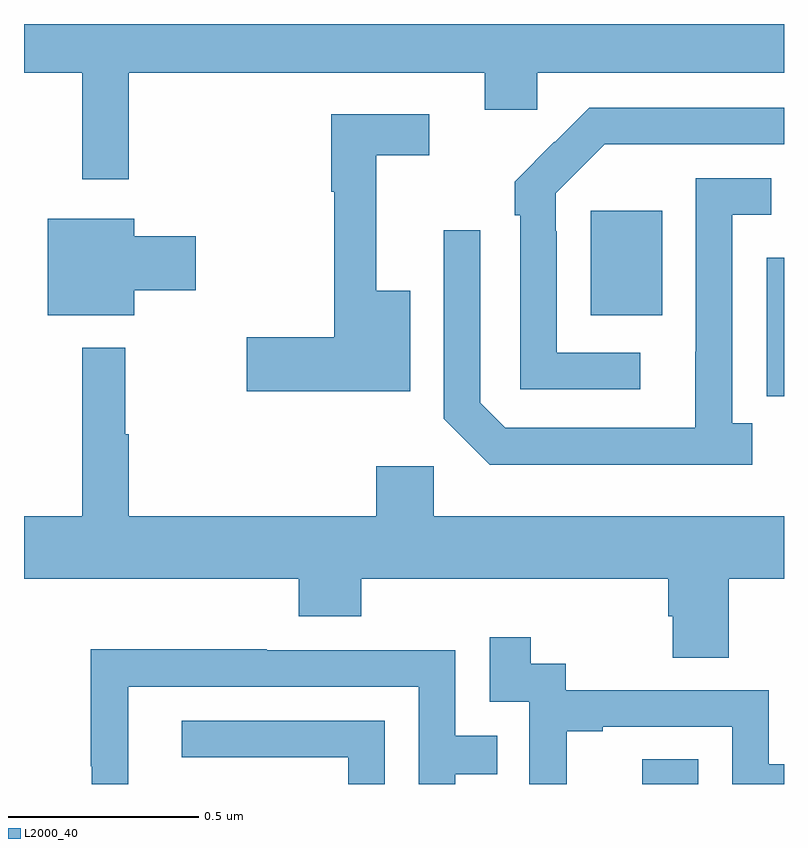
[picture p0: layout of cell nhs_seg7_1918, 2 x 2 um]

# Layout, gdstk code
import gdstk
lib = gdstk.Library(unit=1e-6, precision=1e-09)
def R(c, l, rs):  # rectangles x0, y0, x1, y1
    for r in rs: c.add(gdstk.rectangle(r[:2], r[2:], *l))
def P(c, l, *ps):  # polygons
    for p in ps: c.add(gdstk.Polygon(p, *l))
L2000_40 = (2000, 40)

nhs_seg7_1918 = lib.new_cell('nhs_seg7_1918')
R(nhs_seg7_1918, L2000_40, [(138.627,1076,138.774,1076.065), (138.491,1077.233,138.679,1077.508)])
P(nhs_seg7_1918, L2000_40, [(137.275,1077.872),(138.212,1077.872),(138.212,1077.774),(138.351,1077.774),(138.351,1077.872),(139,1077.872),(139,1078),(137,1078),(137,1077.872),(137.153,1077.872),(137.153,1077.591),(137.275,1077.591)],
  [(138.622,1077.135),(138.402,1077.135),(138.402,1077.455),(138.399,1077.455),(138.399,1077.555),(138.528,1077.684),(139,1077.684),(139,1077.78),(138.488,1077.78),(138.397,1077.689),(138.396,1077.69),(138.291,1077.585),(138.291,1077.497),(138.306,1077.497),(138.306,1077.039),(138.622,1077.039)],
  [(138.016,1077.298),(137.927,1077.298),(137.927,1077.654),(138.067,1077.654),(138.067,1077.762),(137.809,1077.762),(137.809,1077.559),(137.817,1077.559),(137.817,1077.176),(137.586,1077.176),(137.586,1077.034),(138.016,1077.034)],
  [(138.916,1076.95),(138.864,1076.95),(138.864,1077.498),(138.967,1077.498),(138.967,1077.594),(138.768,1077.594),(138.768,1077.137),(138.767,1077.137),(138.767,1076.937),(138.267,1076.937),(138.201,1077.003),(138.201,1077.457),(138.105,1077.457),(138.105,1076.961),(138.226,1076.84),(138.916,1076.84)],
  [(137.29,1077.299),(137.452,1077.299),(137.452,1077.441),(137.29,1077.441),(137.29,1077.487),(137.063,1077.487),(137.063,1077.233),(137.29,1077.233)],
  [(139,1077.385),(138.954,1077.385),(138.954,1077.13),(138.955,1077.13),(138.955,1077.021),(139,1077.021)],
  [(138.855,1076.54),(139,1076.54),(139,1076.704),(138.078,1076.704),(138.078,1076.836),(137.927,1076.836),(137.927,1076.704),(137.275,1076.704),(137.275,1076.921),(137.267,1076.921),(137.267,1077.148),(137.153,1077.148),(137.153,1076.704),(137,1076.704),(137,1076.54),(137.723,1076.54),(137.723,1076.441),(137.888,1076.441),(137.888,1076.54),(138.695,1076.54),(138.695,1076.442),(138.707,1076.442),(138.707,1076.332),(138.855,1076.332)],
  [(138.428,1076.139),(138.523,1076.139),(138.523,1076.151),(138.864,1076.151),(138.864,1076),(139,1076),(139,1076.052),(138.96,1076.052),(138.96,1076.247),(138.426,1076.247),(138.426,1076.316),(138.334,1076.316),(138.334,1076.386),(138.225,1076.386),(138.225,1076.217),(138.33,1076.217),(138.33,1076),(138.428,1076)],
  [(137.274,1076.256),(138.039,1076.256),(138.039,1076),(138.135,1076),(138.135,1076.026),(138.245,1076.026),(138.245,1076.127),(138.135,1076.127),(138.135,1076.352),(137.639,1076.352),(137.639,1076.354),(137.176,1076.354),(137.176,1076.047),(137.178,1076.047),(137.178,1076),(137.274,1076)],
  [(137.949,1076.166),(137.415,1076.166),(137.415,1076.07),(137.853,1076.07),(137.853,1076),(137.949,1076)])

lib.write_gds('nhs_seg7_1918.gds')
